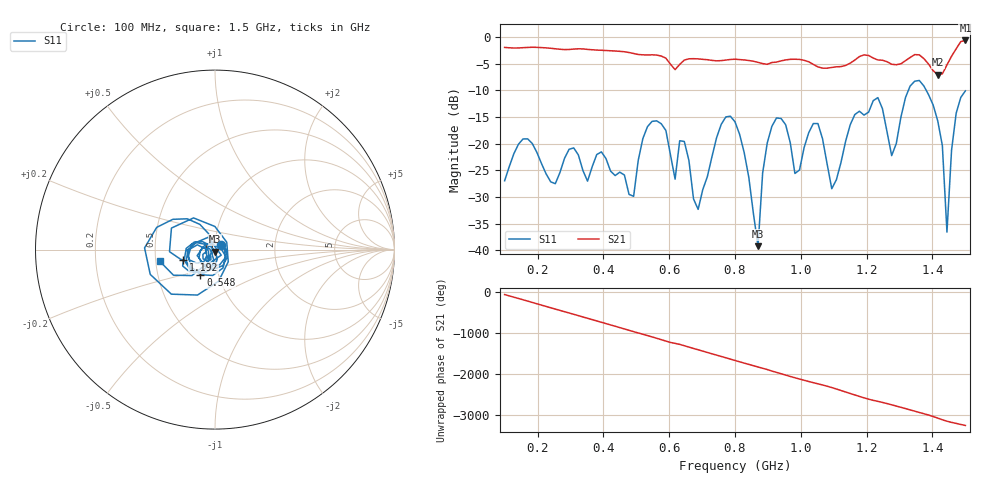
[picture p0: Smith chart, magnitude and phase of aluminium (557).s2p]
! NanoVNA-App
! Date: 2025-09-25 14:59:37
! Start: 100MHz Stop: 1,5GHz Points: 101
! S-Parameter data: F S11 S21 S12 S22
# Hz S RI R 50
!  Frequency  S11_Real  S11_Imag  S21_Real  S21_Imag  S12_Real  S12_Imag  S22_Real  S22_Imag
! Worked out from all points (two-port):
!   101 points, 100 MHz to 1.5 GHz, reference 50 ohm
!   highest |S21| = -0.61 dB at 1.5 GHz (marker M1); lowest = -7.0 dB at 1.416 GHz (marker M2)
!   |S21| within 3 dB of the highest: start of sweep to 578.6 MHz; 1.458 GHz to end of sweep (the widest 2 of 4)
!   lowest |S11| = -39.2 dB at 870 MHz (marker M3), VSWR 1.02, Z = 50.2 - j1.08 ohm
!   |S11| at or under -10 dB: start of sweep to 1.327 GHz; 1.381 GHz to end of sweep
!   S12 and S22 are empty: the file has one direction only
!   S11 on the Smith chart (normalised r, x): 100 MHz: 1.07, +0.06; 548 MHz: 0.82, -0.24; 1.192 GHz: 0.70, -0.08; 1.5 GHz: 0.53, -0.08
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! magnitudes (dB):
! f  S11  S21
! 100 MHz  -27.0  -1.9
! 156 MHz  -19.1  -2.0
! 338 MHz  -25.0  -2.2
! 492 MHz  -29.9  -3.1
! 548 MHz  -15.8  -3.3
! 576 MHz  -16.3  -3.5
! 646 MHz  -19.6  -4.3
! 688 MHz  -32.3  -4.1
! 800 MHz  -15.9  -4.1
! 870 MHz  -39.2  -4.7
! 912 MHz  -16.7  -4.8
! 982 MHz  -25.6  -4.1
! 1.038 GHz  -16.2  -5.1
! 1.094 GHz  -28.4  -5.7
! 1.192 GHz  -14.6  -3.3
! 1.234 GHz  -11.3  -4.3
! 1.276 GHz  -22.2  -5.1
! 1.346 GHz  -8.3  -3.3
! 1.416 GHz  -15.7  -7.0
! 1.444 GHz  -36.6  -5.2
! 1.472 GHz  -14.3  -2.2
! 1.5 GHz  -10.1  -0.6
